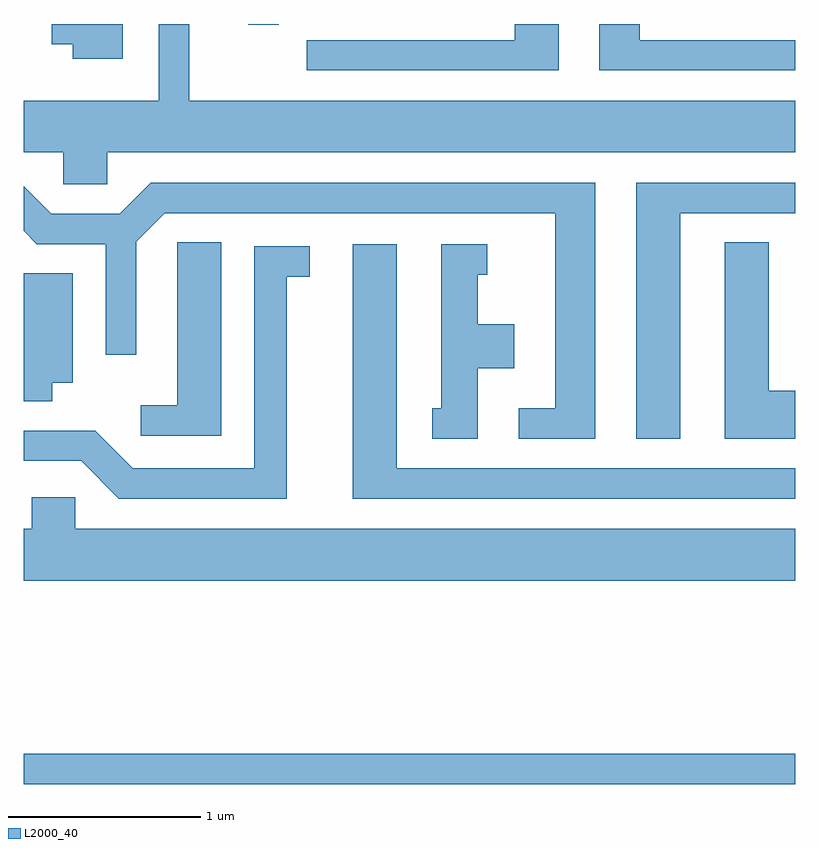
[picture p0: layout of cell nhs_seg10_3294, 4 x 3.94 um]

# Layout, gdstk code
import gdstk
lib = gdstk.Library(unit=1e-6, precision=1e-09)
def R(c, l, rs):  # rectangles x0, y0, x1, y1
    for r in rs: c.add(gdstk.rectangle(r[:2], r[2:], *l))
def P(c, l, *ps):  # polygons
    for p in ps: c.add(gdstk.Polygon(p, *l))
L2000_40 = (2000, 40)

nhs_seg10_3294 = lib.new_cell('nhs_seg10_3294')
R(nhs_seg10_3294, L2000_40, [(281.611,2170.581,285.611,2170.739), (282.776,2174.518,282.934,2174.522)])
P(nhs_seg10_3294, L2000_40, [(282.044,2173.856),(285.611,2173.856),(285.611,2174.124),(282.469,2174.124),(282.469,2174.522),(282.311,2174.522),(282.311,2174.124),(281.611,2174.124),(281.611,2173.856),(281.816,2173.856),(281.816,2173.691),(282.044,2173.691)],
  [(284.384,2174.522),(284.156,2174.522),(284.156,2174.439),(283.078,2174.439),(283.078,2174.281),(284.384,2174.281)],
  [(285.611,2174.439),(284.804,2174.439),(284.804,2174.522),(284.596,2174.522),(284.596,2174.281),(285.611,2174.281)],
  [(282.124,2174.522),(281.756,2174.522),(281.756,2174.416),(281.866,2174.416),(281.866,2174.341),(282.124,2174.341)],
  [(285.014,2173.541),(285.611,2173.541),(285.611,2173.699),(284.786,2173.699),(284.786,2172.371),(285.014,2172.371)],
  [(284.574,2173.699),(282.269,2173.699),(282.109,2173.539),(281.752,2173.539),(281.611,2173.68),(281.611,2173.449),(281.679,2173.381),(282.036,2173.381),(282.036,2172.808),(282.194,2172.808),(282.194,2173.394),(282.342,2173.541),(284.366,2173.541),(284.366,2172.529),(284.178,2172.529),(284.178,2172.371),(284.574,2172.371)],
  [(282.634,2173.389),(282.406,2173.389),(282.406,2172.544),(282.218,2172.544),(282.218,2172.386),(282.634,2172.386)],
  [(285.611,2172.619),(285.474,2172.619),(285.474,2173.389),(285.246,2173.389),(285.246,2172.371),(285.611,2172.371)],
  [(285.611,2172.219),(283.544,2172.219),(283.544,2173.379),(283.316,2173.379),(283.316,2172.061),(285.611,2172.061)],
  [(283.964,2172.736),(284.154,2172.736),(284.154,2172.964),(283.964,2172.964),(283.964,2173.221),(284.013,2173.221),(284.013,2173.379),(283.776,2173.379),(283.776,2172.529),(283.728,2172.529),(283.728,2172.371),(283.964,2172.371)],
  [(282.974,2173.211),(283.093,2173.211),(283.093,2173.369),(282.806,2173.369),(282.806,2172.219),(282.177,2172.219),(281.982,2172.414),(281.611,2172.414),(281.611,2172.256),(281.909,2172.256),(282.104,2172.061),(282.974,2172.061)],
  [(281.759,2172.661),(281.864,2172.661),(281.864,2173.229),(281.611,2173.229),(281.611,2172.566),(281.759,2172.566)],
  [(285.611,2171.904),(281.879,2171.904),(281.879,2172.069),(281.651,2172.069),(281.651,2171.904),(281.611,2171.904),(281.611,2171.636),(285.611,2171.636)])

lib.write_gds('nhs_seg10_3294.gds')
